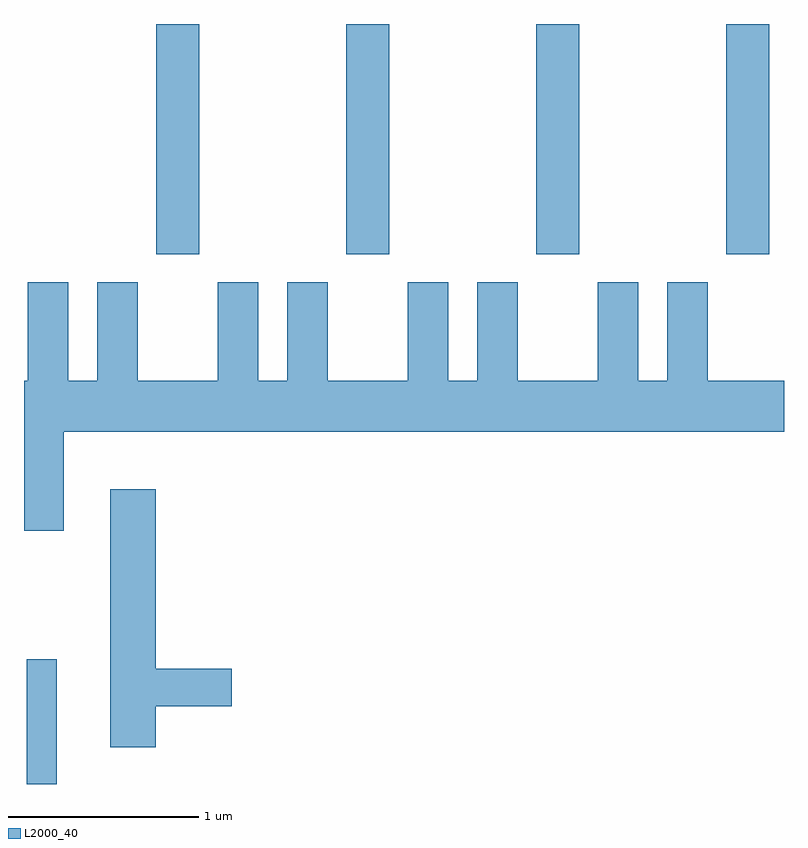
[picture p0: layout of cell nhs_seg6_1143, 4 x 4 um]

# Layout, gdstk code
import gdstk
lib = gdstk.Library(unit=1e-6, precision=1e-09)
def R(c, l, rs):  # rectangles x0, y0, x1, y1
    for r in rs: c.add(gdstk.rectangle(r[:2], r[2:], *l))
def A(c, l, x, y, w, h, nx, ny, dx, dy):  # array of equal rectangles
    R(c, l, [(x+i*dx, y+j*dy, x+i*dx+w, y+j*dy+h) for i in range(nx) for j in range(ny)])
def P(c, l, *ps):  # polygons
    for p in ps: c.add(gdstk.Polygon(p, *l))
L2000_40 = (2000, 40)

nhs_seg6_1143 = lib.new_cell('nhs_seg6_1143')
A(nhs_seg6_1143, L2000_40, 220.306, 1570.951, 0.228, 1.211, 4, 1, 1, 0)
R(nhs_seg6_1143, L2000_40, [(219.626,1568.162,219.784,1568.818)])
P(nhs_seg6_1143, L2000_40, [(219.819,1570.016),(223.611,1570.016),(223.611,1570.284),(223.209,1570.284),(223.209,1570.804),(222.996,1570.804),(222.996,1570.284),(222.844,1570.284),(222.844,1570.804),(222.631,1570.804),(222.631,1570.284),(222.209,1570.284),(222.209,1570.804),(221.996,1570.804),(221.996,1570.284),(221.844,1570.284),(221.844,1570.804),(221.631,1570.804),(221.631,1570.284),(221.209,1570.284),(221.209,1570.804),(220.996,1570.804),(220.996,1570.284),(220.844,1570.284),(220.844,1570.804),(220.631,1570.804),(220.631,1570.284),(220.209,1570.284),(220.209,1570.804),(219.996,1570.804),(219.996,1570.284),(219.844,1570.284),(219.844,1570.804),(219.631,1570.804),(219.631,1570.284),(219.611,1570.284),(219.611,1569.496),(219.819,1569.496)],
  [(220.304,1568.571),(220.704,1568.571),(220.704,1568.769),(220.304,1568.769),(220.304,1569.714),(220.066,1569.714),(220.066,1568.356),(220.304,1568.356)])

lib.write_gds('nhs_seg6_1143.gds')
